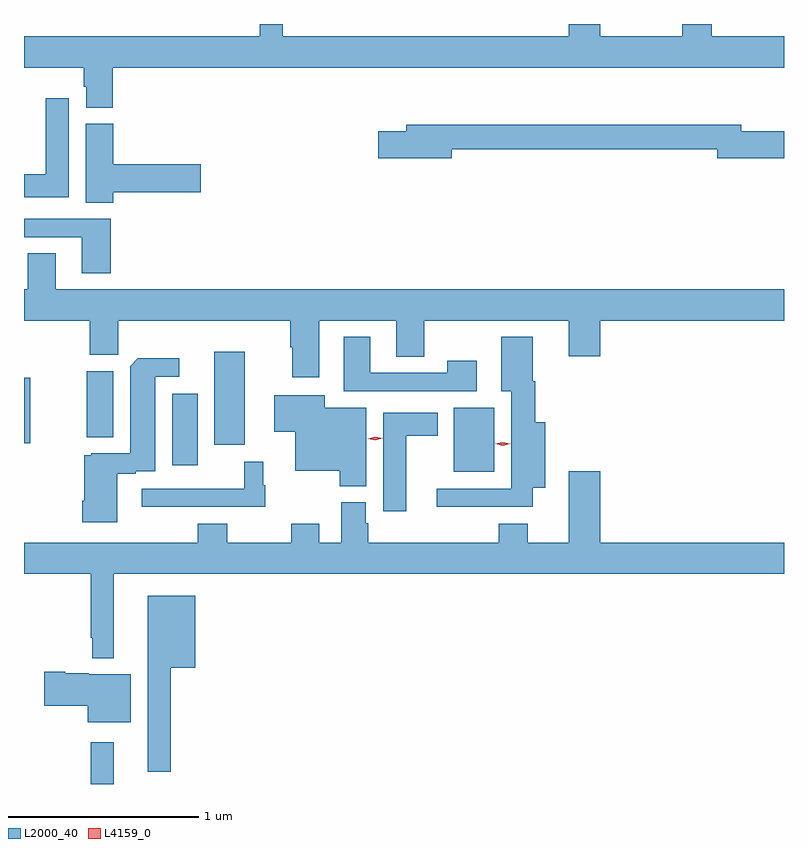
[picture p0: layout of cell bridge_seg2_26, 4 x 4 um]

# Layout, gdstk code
import gdstk
lib = gdstk.Library(unit=1e-6, precision=1e-09)
def R(c, l, rs):  # rectangles x0, y0, x1, y1
    for r in rs: c.add(gdstk.rectangle(r[:2], r[2:], *l))
def P(c, l, *ps):  # polygons
    for p in ps: c.add(gdstk.Polygon(p, *l))
L2000_40 = (2000, 40)
L4159_0 = (4159, 0)

bridge_seg2_26 = lib.new_cell('bridge_seg2_26')
R(bridge_seg2_26, L2000_40, [(665.988,638.537,666.109,638.758), (667.898,640.181,668.11,640.516), (666.416,640.215,666.55,640.591), (666.638,640.323,666.799,640.813), (665.636,640.331,665.668,640.675), (665.966,640.363,666.106,640.71)])
P(bridge_seg2_26, L2000_40, [(666.104,642.308),(669.636,642.308),(669.636,642.472),(669.255,642.472),(669.255,642.537),(669.1,642.537),(669.1,642.472),(668.668,642.472),(668.668,642.537),(668.504,642.537),(668.504,642.472),(666.997,642.472),(666.997,642.537),(666.876,642.537),(666.876,642.472),(665.636,642.472),(665.636,642.308),(665.951,642.308),(665.951,642.207),(665.963,642.207),(665.963,642.097),(666.104,642.097)],
  [(665.872,642.145),(665.75,642.145),(665.75,641.746),(665.636,641.746),(665.636,641.624),(665.872,641.624)],
  [(666.107,641.651),(666.565,641.651),(666.565,641.798),(666.107,641.798),(666.107,642.012),(665.96,642.012),(665.96,641.596),(666.107,641.596)],
  [(667.888,641.878),(669.284,641.878),(669.284,641.831),(669.636,641.831),(669.636,641.973),(669.412,641.973),(669.412,642.007),(667.649,642.007),(667.649,641.973),(667.5,641.973),(667.5,641.831),(667.888,641.831)],
  [(666.092,641.511),(665.636,641.511),(665.636,641.415),(665.939,641.415),(665.939,641.226),(666.092,641.226)],
  [(667.189,640.976),(667.595,640.976),(667.595,640.786),(667.743,640.786),(667.743,640.976),(668.504,640.976),(668.504,640.788),(668.668,640.788),(668.668,640.976),(669.636,640.976),(669.636,641.14),(665.803,641.14),(665.803,641.33),(665.656,641.33),(665.656,641.14),(665.636,641.14),(665.636,640.976),(665.981,640.976),(665.981,640.795),(666.131,640.795),(666.131,640.976),(667.037,640.976),(667.037,640.835),(667.049,640.835),(667.049,640.677),(667.189,640.677)],
  [(668.02,640.765),(667.864,640.765),(667.864,640.701),(667.459,640.701),(667.459,640.891),(667.319,640.891),(667.319,640.605),(668.02,640.605)],
  [(668.314,640.097),(668.38,640.097),(668.38,640.441),(668.327,640.441),(668.327,640.658),(668.314,640.658),(668.314,640.891),(668.147,640.891),(668.147,640.604),(668.201,640.604),(668.201,640.092),(667.809,640.092),(667.809,639.995),(668.314,639.995)],
  [(666.127,640.17),(666.224,640.17),(666.224,640.182),(666.328,640.182),(666.328,640.68),(666.454,640.68),(666.454,640.778),(666.235,640.778),(666.194,640.736),(666.194,640.278),(665.991,640.278),(665.991,640.267),(665.954,640.267),(665.954,640.027),(665.942,640.027),(665.942,639.915),(666.127,639.915)],
  [(667.438,640.516),(667.218,640.516),(667.218,640.582),(666.953,640.582),(666.953,640.391),(667.064,640.391),(667.064,640.187),(667.297,640.187),(667.297,640.105),(667.438,640.105)],
  [(667.648,640.37),(667.813,640.37),(667.813,640.492),(667.526,640.492),(667.526,639.972),(667.648,639.972)],
  [(666.907,640.11),(666.895,640.11),(666.895,640.234),(666.796,640.234),(666.796,640.092),(666.255,640.092),(666.255,639.996),(666.907,639.996)],
  [(669.636,639.808),(668.668,639.808),(668.668,640.183),(668.504,640.183),(668.504,639.808),(668.287,639.808),(668.287,639.907),(668.135,639.907),(668.135,639.808),(667.448,639.808),(667.448,639.909),(667.435,639.909),(667.435,640.02),(667.307,640.02),(667.307,639.808),(667.189,639.808),(667.189,639.907),(667.042,639.907),(667.042,639.808),(666.705,639.808),(666.705,639.907),(666.55,639.907),(666.55,639.808),(665.636,639.808),(665.636,639.644),(665.988,639.644),(665.988,639.307),(665.995,639.307),(665.995,639.2),(666.109,639.2),(666.109,639.644),(669.636,639.644)],
  [(666.409,639.149),(666.538,639.149),(666.538,639.529),(666.287,639.529),(666.287,638.601),(666.409,638.601)],
  [(666.199,639.115),(665.976,639.115),(665.976,639.121),(665.854,639.121),(665.854,639.128),(665.742,639.128),(665.742,638.95),(665.972,638.95),(665.972,638.861),(666.199,638.861)])
P(bridge_seg2_26, L4159_0, [(668.155,640.317),(668.115,640.328),(668.115,640.328),(668.115,640.328),(668.156,640.337),(668.196,640.327),(668.196,640.327),(668.196,640.327)],
  [(667.485,640.345),(667.445,640.353),(667.445,640.354),(667.445,640.354),(667.485,640.365),(667.525,640.356),(667.525,640.356),(667.525,640.356)])

lib.write_gds('bridge_seg2_26.gds')
